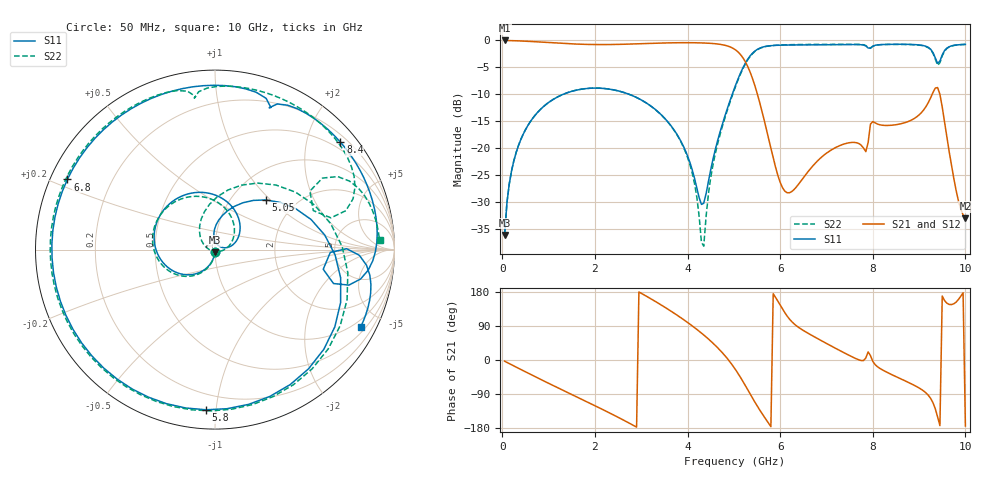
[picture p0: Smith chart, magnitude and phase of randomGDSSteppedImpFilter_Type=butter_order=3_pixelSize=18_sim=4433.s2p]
! freq	dB(S11)	phase(S11)	dB(S12)	phase(S12)
!  dB(S21)	phase(S21)	dB(S22)	phase(S22)
!S-par simulation data
#  GHz  S  DB  R 50
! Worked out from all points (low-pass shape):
!   200 points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, 50 MHz to 10 GHz, reference 50 ohm
!   highest |S21| = -0.01 dB at 50 MHz (marker M1); lowest = -33.0 dB at 10 GHz (marker M2)
!   |S21| within 3 dB of the highest: start of sweep to 5.177 GHz
!   lowest |S11| = -36.1 dB at 50 MHz (marker M3), VSWR 1.03, Z = 49.9 - j1.56 ohm
!   |S11| at or under -10 dB: start of sweep to 1.314 GHz; 2.741 GHz to 4.965 GHz (2.224 GHz wide, 57.7 % of centre)
!   |S22| runs from -38.2 to -0.7 dB; largest |S21 - S12| = 0
!   S11 on the Smith chart (normalised r, x): 50 MHz: 1.00, -0.03; 5.05 GHz: 1.43, +0.94; 5.8 GHz: 0.11, -0.94; 6.8 GHz: 0.05, +0.23; 8.4 GHz: 0.34, +2.67; 10 GHz: 0.70, -3.88
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0.05  -36.10 -92.9  -0.01 -3.2  -0.01 -3.2  -36.10 -92.7
0.2  -24.19 -103.1  -0.04 -12.6  -0.04 -12.6  -24.19 -102.3
0.5  -16.57 -122.7  -0.14 -31.2  -0.14 -31.2  -16.57 -120.6
1.75  -8.99 159.6  -0.72 -105.8  -0.72 -105.8  -8.99 167.7
2.7  -9.87 99.2  -0.69 -163.9  -0.69 -163.9  -9.87 112.6
3.4  -13.53 50.2  -0.50 147.6  -0.50 147.6  -13.55 66.3
4  -21.41 11.3  -0.42 99.2  -0.42 99.2  -21.69 15.6
4.35  -30.20 64.2  -0.48 66.1  -0.48 66.1  -38.16 -129.1
4.55  -22.02 94.6  -0.58 44.4  -0.58 44.4  -23.05 154.8
5.05  -8.03 44.2  -1.84 -27.9  -1.84 -27.9  -8.24 67.9
5.4  -2.39 -22.8  -7.00 -99.9  -7.00 -99.9  -2.48 -9.9
5.8  -0.97 -93.2  -19.99 -175.9  -19.99 -175.9  -0.97 -84.1
6.15  -0.86 -139.2  -28.25 116.1  -28.25 116.1  -0.80 -128.6
6.7  -0.82 163.7  -23.33 63.8  -23.33 63.8  -0.74 -179.9
6.8  -0.81 154.6  -22.41 57.0  -22.41 57.0  -0.74 172.2
7.5  -0.77 97.8  -18.97 11.6  -18.97 11.6  -0.72 123.3
8.35  -0.73 43.6  -15.77 -35.1  -15.77 -35.1  -0.74 74.7
8.4  -0.72 40.6  -15.74 -38.1  -15.74 -38.1  -0.74 71.9
9.15  -1.10 -4.1  -12.26 -87.0  -12.26 -87.0  -1.15 27.9
9.4  -4.25 -10.3  -8.75 -150.3  -8.75 -150.3  -4.59 21.6
9.55  -1.88 -2.3  -15.14 156.9  -15.14 156.9  -1.99 30.8
10  -0.73 -28.1  -33.01 -174.1  -33.01 -174.1  -0.74 3.2
